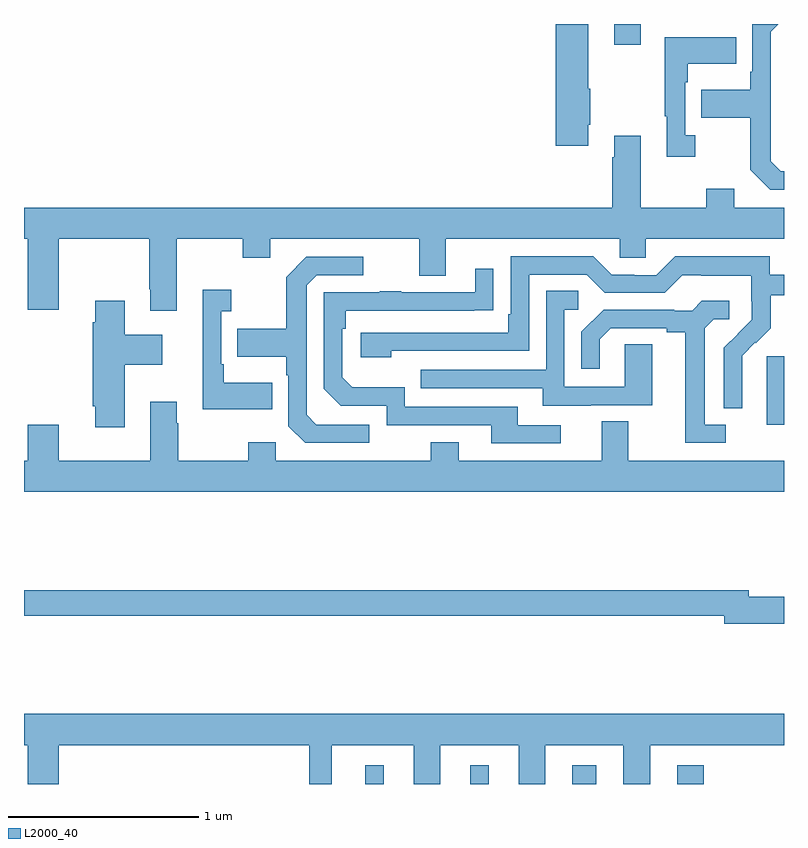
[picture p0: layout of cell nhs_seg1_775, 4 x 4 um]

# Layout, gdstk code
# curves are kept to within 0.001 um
import gdstk
lib = gdstk.Library(unit=1e-6, precision=1e-09)
def R(c, l, rs):  # rectangles x0, y0, x1, y1
    for r in rs: c.add(gdstk.rectangle(r[:2], r[2:], *l))
def P(c, l, *ps):  # polygons
    for p in ps: c.add(gdstk.Polygon(p, *l))
L2000_40 = (2000, 40)

nhs_seg1_775 = lib.new_cell('nhs_seg1_775')
R(nhs_seg1_775, L2000_40, [(154.796,546.199,154.894,546.298), (155.348,546.199,155.446,546.298), (155.885,546.199,156.013,546.298), (156.437,546.199,156.578,546.298), (156.908,548.09,157,548.451), (156.107,550.089,156.247,550.199)])
P(nhs_seg1_775, L2000_40, [(157,549.423),(156.984,549.423),(156.93,549.477),(156.93,550.158),(156.971,550.199),(156.834,550.199),(156.834,549.949),(156.822,549.949),(156.822,549.853),(156.565,549.853),(156.565,549.706),(156.822,549.706),(156.822,549.433),(156.927,549.327),(157,549.327)],
  [(155.971,549.67),(155.979,549.67),(155.979,549.859),(155.971,549.859),(155.971,550.199),(155.798,550.199),(155.798,549.558),(155.971,549.558)],
  [(156.532,549.614),(156.48,549.614),(156.48,549.893),(156.493,549.893),(156.493,549.989),(156.749,549.989),(156.749,550.129),(156.372,550.129),(156.372,549.713),(156.383,549.713),(156.383,549.501),(156.532,549.501)],
  [(153.805,549.068),(154.15,549.068),(154.15,548.969),(154.297,548.969),(154.297,549.068),(155.081,549.068),(155.081,548.874),(155.221,548.874),(155.221,549.068),(156.135,549.068),(156.135,548.97),(156.273,548.97),(156.273,549.068),(157,549.068),(157,549.232),(156.739,549.232),(156.739,549.331),(156.592,549.331),(156.592,549.232),(156.247,549.232),(156.247,549.61),(156.107,549.61),(156.107,549.497),(156.095,549.497),(156.095,549.232),(153,549.232),(153,549.068),(153.02,549.068),(153.02,548.694),(153.184,548.694),(153.184,549.068),(153.658,549.068),(153.658,548.803),(153.665,548.803),(153.665,548.691),(153.805,548.691)],
  [(156.78,548.33),(156.779,548.453),(156.849,548.523),(156.852,548.52),(156.929,548.597),(156.929,548.772),(157,548.772),(157,548.88),(156.924,548.88),(156.924,548.977),(156.427,548.977),(156.327,548.877),(156.212,548.877),(156.212,548.88),(156.093,548.88),(155.997,548.976),(155.562,548.976),(155.562,548.671),(155.549,548.671),(155.549,548.574),(154.773,548.574),(154.773,548.444),(154.934,548.444),(154.934,548.478),(155.658,548.478),(155.658,548.88),(155.961,548.88),(156.057,548.784),(156.372,548.784),(156.465,548.877),(156.565,548.877),(156.565,548.873),(156.828,548.873),(156.828,548.739),(156.83,548.739),(156.83,548.642),(156.684,548.494),(156.684,548.176),(156.78,548.176)],
  [(154.816,548.091),(154.539,548.091),(154.488,548.142),(154.488,548.823),(154.542,548.877),(154.786,548.877),(154.786,548.973),(154.485,548.973),(154.38,548.867),(154.38,548.595),(154.123,548.595),(154.123,548.447),(154.38,548.447),(154.38,548.351),(154.392,548.351),(154.392,548.082),(154.479,547.995),(154.816,547.995)],
  [(155.824,548.088),(155.599,548.088),(155.599,548.184),(155.004,548.184),(155.004,548.287),(154.727,548.287),(154.674,548.34),(154.674,548.594),(154.694,548.594),(154.694,548.691),(155.471,548.692),(155.471,548.911),(155.375,548.911),(155.375,548.787),(154.985,548.787),(154.985,548.792),(154.873,548.792),(154.873,548.787),(154.578,548.787),(154.578,548.28),(154.668,548.19),(154.908,548.19),(154.908,548.088),(155.459,548.088),(155.459,547.992),(155.824,547.992)],
  [(154.307,548.311),(154.051,548.311),(154.051,548.407),(154.038,548.407),(154.038,548.687),(154.09,548.687),(154.09,548.8),(153.941,548.8),(153.941,548.171),(154.307,548.171)],
  [(155.983,548.193),(156.307,548.193),(156.307,548.513),(156.162,548.513),(156.162,548.289),(155.844,548.289),(155.844,548.694),(155.917,548.694),(155.917,548.795),(155.748,548.795),(155.748,548.379),(155.089,548.379),(155.089,548.283),(155.729,548.283),(155.729,548.189),(155.983,548.189)],
  [(153.529,548.405),(153.727,548.405),(153.727,548.563),(153.529,548.563),(153.529,548.743),(153.374,548.743),(153.374,548.63),(153.362,548.63),(153.362,548.188),(153.374,548.188),(153.374,548.076),(153.529,548.076)],
  [(156.694,548.091),(156.583,548.091),(156.583,548.599),(156.63,548.646),(156.712,548.646),(156.712,548.743),(156.568,548.743),(156.516,548.691),(156.422,548.691),(156.422,548.694),(156.05,548.694),(155.934,548.578),(155.934,548.385),(156.031,548.385),(156.031,548.541),(156.088,548.598),(156.383,548.598),(156.383,548.576),(156.479,548.576),(156.479,547.995),(156.694,547.995)],
  [(157,547.9),(156.181,547.9),(156.181,548.108),(156.041,548.108),(156.041,547.9),(155.287,547.9),(155.287,547.999),(155.14,547.999),(155.14,547.9),(154.326,547.9),(154.326,547.999),(154.18,547.999),(154.18,547.9),(153.813,547.9),(153.813,548.099),(153.805,548.099),(153.805,548.212),(153.665,548.212),(153.665,547.9),(153.184,547.9),(153.184,548.089),(153.02,548.089),(153.02,547.9),(153,547.9),(153,547.736),(157,547.736)],
  [(157,547.184),(156.814,547.184),(156.814,547.22),(153,547.22),(153,547.084),(156.686,547.084),(156.686,547.042),(157,547.042)],
  [(153,546.404),(153.02,546.404),(153.02,546.199),(153.184,546.199),(153.184,546.404),(154.5,546.404),(154.5,546.199),(154.621,546.199),(154.621,546.404),(155.051,546.404),(155.051,546.199),(155.191,546.199),(155.191,546.404),(155.603,546.404),(155.603,546.199),(155.743,546.199),(155.743,546.404),(156.155,546.404),(156.155,546.199),(156.295,546.199),(156.295,546.404),(157,546.404),(157,546.568),(153,546.568)])

lib.write_gds('nhs_seg1_775.gds')
